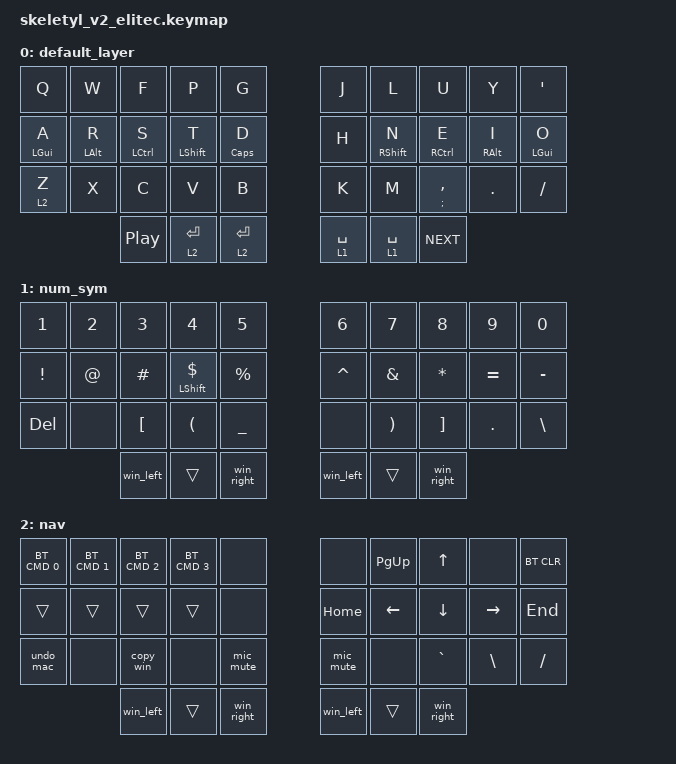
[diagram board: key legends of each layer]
/*
 * Copyright (c) 2020 The ZMK Contributors
 *
 * SPDX-License-Identifier: MIT
 */

#include <behaviors.dtsi>
#include <dt-bindings/zmk/keys.h>
#include <dt-bindings/zmk/bt.h>

#define DEFAULT 0
#define NUM_SYM 1
#define NAV     2

/ {
	behaviors {
		rst: boot_reset 
		{
			compatible = "zmk,behavior-hold-tap";
			label = "Bootloader Tap - Reset Hold";
			#binding-cells = <2>;
			tapping_term_ms = <200>;
            flavor = "balanced";
			bindings = <&sys_reset>, <&bootloader>;
        };

        bh: layer_taps 
		{
			compatible = "zmk,behavior-hold-tap";
			label = "Layer-Tap";
			#binding-cells = <2>;
			tapping_term_ms = <215>;
            flavor = "tap-preferred";
			bindings = <&mo>, <&kp>;
        };

        hm: homerow_mods0 
		{
			compatible = "zmk,behavior-hold-tap";
			label = "homerow mods";
			#binding-cells = <2>;
			tapping_term_ms = <230>;
            flavor = "tap-preferred";
			bindings = <&kp>, <&kp>;
        };
        
        hm1: homerow_mods1 
		{
			compatible = "zmk,behavior-hold-tap";
			label = "homerow mods";
			#binding-cells = <2>;
			tapping_term_ms = <205>;
            flavor = "tap-preferred";
			bindings = <&kp>, <&kp>;
        };

        hm2: homerow_mods2 
		{
			compatible = "zmk,behavior-hold-tap";
			label = "homerow mods 2";
			#binding-cells = <2>;
			tapping_term_ms = <250>;
            flavor = "tap-preferred";
			bindings = <&kp>, <&kp>;
        };

        com_col: comma_semicolon
		{
		 	compatible = "zmk,behavior-hold-tap";
	     	label = "Tap comma_hold colon";
			#binding-cells = <2>;
			tapping_term_ms = <150>;
            flavor = "balanced";
		 	bindings = <&kp>, <&kp>;
	    };
   	 };
};

/ {
    macros {
        win_left: win_left {
            label = "win_left";
            compatible = "zmk,behavior-macro";
            #binding-cells = <0>;
            bindings
                = <&macro_press &kp LGUI &kp LCTRL>
                , <&macro_tap &kp LEFT>
                , <&macro_release &kp LGUI &kp LCTRL>
                ;
        };
		win_right: win_right {
            label = "win_right";
            compatible = "zmk,behavior-macro";
            #binding-cells = <0>;
            bindings
                = <&macro_press &kp LGUI &kp LCTRL>
                , <&macro_tap &kp RIGHT>
                , <&macro_release &kp LGUI &kp LCTRL>
                ;
        };
		mic_mute: mic_mute {
            label = "mic_mute";
            compatible = "zmk,behavior-macro";
            #binding-cells = <0>;
            bindings
                = <&macro_press &kp LCTRL>
                , <&macro_tap &kp F12>
                , <&macro_release &kp LCTRL>
                ;
        };
		copy_win: copy_win {
            label = "copy_win";
            compatible = "zmk,behavior-macro";
            #binding-cells = <0>;
            bindings
                = <&macro_press &kp LCTRL>
                , <&macro_tap &kp C>
                , <&macro_release &kp LCTRL>
                ;
        };
		undo_mac: undo_mac {
            label = "undo_mac";
            compatible = "zmk,behavior-macro";
            #binding-cells = <0>;
            bindings
                = <&macro_press &kp LGUI>
                , <&macro_tap &kp Z>
                , <&macro_release &kp LGUI>
                ;
        };
    };
};

/ {
	combos {
		compatible = "zmk,combos";
		combo_backspce {
			timeout-ms = <50>;
			key-positions = <8 9>;
			bindings = <&kp BSPC>;
		};
		combo_gesc 
		{
			timeout-ms = <30>;
			key-positions = <0 1>;
			bindings = <&com_col GRAVE ESC>;
		};
		combo_tab 
		{
			timeout-ms = <35>;
			key-positions = <11 12>;
			bindings = <&kp TAB>;
		};
		combo_del 
		{
			timeout-ms = <40>;
			key-positions = <7 8 9>;
			bindings = <&kp DEL>;
		};
		combo_ent 
		{
			timeout-ms = <30>;
			key-positions = <17 18>;
			bindings = <&kp RET>;
		};
		combo_ent2
		{
			timeout-ms = <30>;
			key-positions = <2 3>;
			bindings = <&kp RET>;
		};
	};
};

/ {
    keymap 
	{
    compatible = "zmk,keymap";

    default_layer {
            bindings = <
    &kp Q &kp W &kp F &kp P &kp G &kp J &kp L &kp U &kp Y &kp SQT
    &hm2 LGUI A &hm LALT R &hm LCTRL S &hm1 LSHFT T &hm2 CLCK D &kp H &hm1 RSHFT N &hm RCTRL E &hm RALT I &hm2 LGUI O
    &bh 2 Z &kp X &kp C &kp V &kp B &kp K &kp M &com_col SEMI COMMA &kp DOT &kp FSLH
    &kp C_PP &bh 2 RET &bh 2 RET &bh 1 SPACE &bh 1 SPACE &kp C_NEXT
            >;
        };

    num_sym {
            bindings = <
    &kp N1 &kp N2 &kp N3 &kp N4 &kp N5 &kp N6 &kp N7 &kp N8 &kp N9 &kp N0
    &kp EXCL &kp AT &kp POUND &hm LSHFT DLLR &kp PRCNT &kp CARET &kp AMPS &kp STAR &kp EQUAL &kp MINUS
    &kp DEL &none &kp LBKT &kp LPAR &kp UNDER &none &kp RPAR &kp RBKT &kp DOT &kp BSLH
    &win_left &trans &win_right &win_left &trans &win_right
            >;
        };

    nav {
            bindings = <
    &bt BT_SEL_CMD 0 &bt BT_SEL_CMD 1 &bt BT_SEL_CMD 2 &bt BT_SEL_CMD 3 &none &none &kp PG_UP &kp UP &none &bt BT_CLR
    &trans &trans &trans &trans &none &kp HOME &kp LEFT &kp DOWN &kp RIGHT &kp END
    &undo_mac &none &copy_win &none &mic_mute &mic_mute &none &kp GRAVE &kp BSLH &kp FSLH
    &win_left &trans &win_right &win_left &trans &win_right
            >;
        };
    };
};
